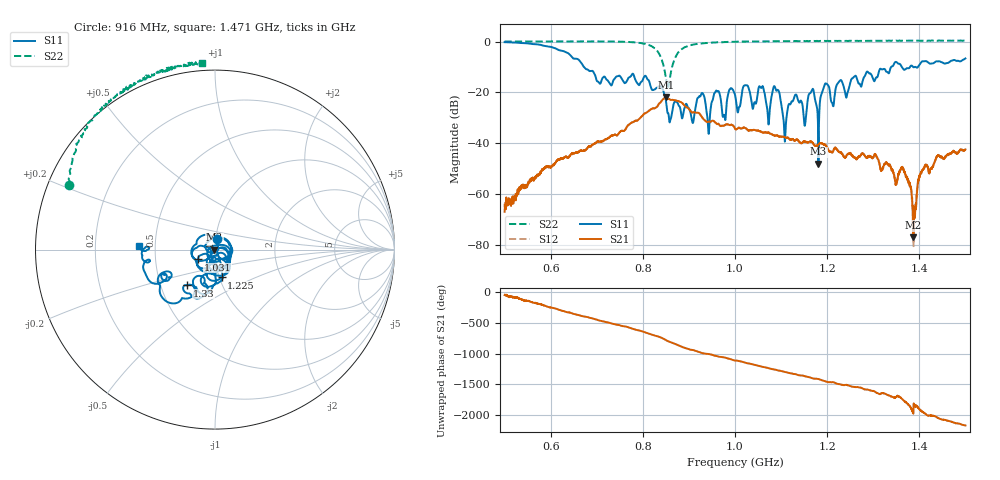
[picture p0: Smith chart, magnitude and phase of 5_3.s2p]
!Keysight Technologies,N5242B,MY48420860,A.13.80.08
!Date: Saturday, September 26, 2020 12:49:42
!Correction: S11(Full 2 Port(1,2))
!S21(Full 2 Port(1,2))
!S12(Full 2 Port(1,2))
!S22(Full 2 Port(1,2))
!S2P File: Measurements: S11, S21, S12, S22:
# Hz S  dB  R 50
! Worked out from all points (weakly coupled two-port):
!   2650 points, 500 MHz to 1.5 GHz, reference 50 ohm
!   highest |S21| = -21.87 dB at 850.3 MHz (marker M1); lowest = -77.1 dB at 1.387 GHz (marker M2)
!   lowest |S11| = -48.1 dB at 1.181 GHz (marker M3), VSWR 1.01, Z = 49.6 - j0.0566 ohm
!   |S11| at or under -10 dB: 672.1 MHz to 1.339 GHz (666.8 MHz wide, 66.3 % of centre); 1.362 GHz to 1.38 GHz (17.77 MHz wide, 1.3 % of centre); 1.39191 GHz to 1.397075 GHz (5.165 MHz wide, 0.37 % of centre) (the widest 3 of 4)
!   |S22| runs from -18.6 to 0.4 dB; largest |S21 - S12| = 0.00042
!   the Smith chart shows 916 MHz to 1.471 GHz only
!   S11 on the Smith chart (normalised r, x): 916 MHz: 1.01, +0.12; 1.031 GHz: 0.82, -0.09; 1.225 GHz: 1.02, -0.33; 1.33 GHz: 0.68, -0.29; 1.471 GHz: 0.41, +0.02
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5e8  -0.24 -166.2  -67.00 -52.0  -65.05 -50.4  0.04 147.6
6.026803e8  -2.20 127.6  -49.02 104.0  -49.26 104.5  0.06 139.6
6.668554e8  -8.51 75.5  -42.80 -30.2  -43.02 -30.7  0.05 133.0
8.337108e8  -17.73 8.0  -24.87 -3.0  -24.87 -3.1  -4.30 65.9
8.503209e8  -23.55 -56.0  -21.87 -62.1  -21.89 -62.2  -14.71 4.0
8.801435e8  -25.70 -129.5  -23.69 -154.7  -23.70 -154.7  -3.72 -175.9
9.16006e8  -24.34 82.1  -28.02 121.5  -28.06 121.3  -1.03 156.0
1.000189e9  -21.09 -120.7  -34.29 -33.4  -34.28 -33.0  -0.07 136.0
1.031144e9  -19.20 -150.2  -34.99 -80.5  -35.09 -80.3  0.04 131.9
1.072291e9  -32.01 178.8  -35.79 -154.7  -35.81 -154.9  0.06 127.2
1.089656e9  -19.34 163.5  -36.96 176.1  -36.91 176.3  0.12 125.5
1.108154e9  -39.42 -39.2  -37.68 142.6  -37.71 142.7  0.15 124.0
1.166667e9  -19.27 -50.9  -39.53 44.3  -39.45 44.1  0.15 118.5
1.181012e9  -48.05 -171.7  -40.56 28.2  -40.48 29.0  0.18 117.6
1.225179e9  -15.96 -76.8  -43.50 -53.3  -43.30 -53.4  0.27 113.9
1.330125e9  -11.96 -127.8  -47.87 130.6  -48.00 130.6  0.26 105.6
1.333522e9  -12.52 -123.2  -48.75 124.5  -48.67 123.3  0.38 105.3
1.365987e9  -10.98 -154.1  -50.78 41.5  -50.40 40.3  0.34 102.9
1.387127e9  -10.09 -154.7  -77.14 -172.9  -79.14 -89.6  0.35 101.1
1.4094e9  -7.75 -159.9  -50.05 -155.5  -49.90 -157.7  0.31 98.9
1.470932e9  -7.49 177.4  -43.51 53.9  -43.65 54.7  0.34 93.9
1.5e9  -6.66 168.1  -42.50 -3.6  -42.68 -2.9  0.37 91.5
